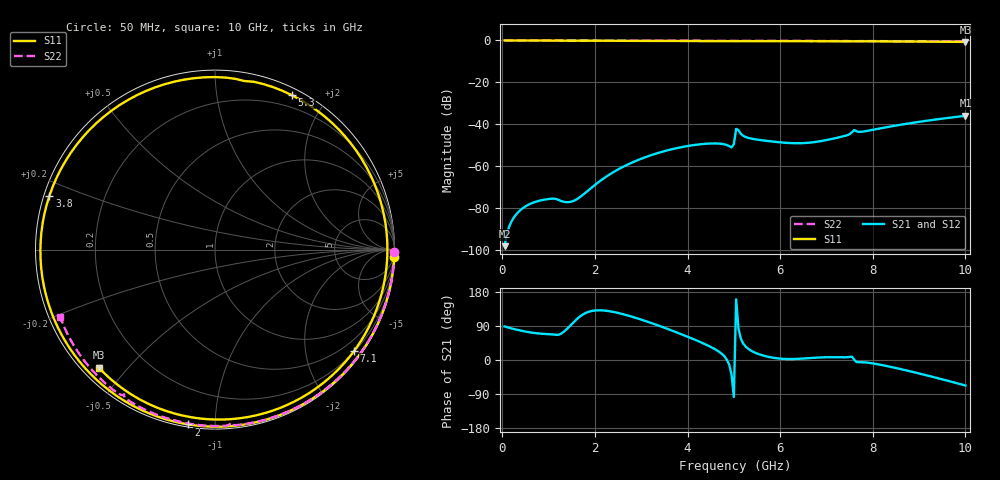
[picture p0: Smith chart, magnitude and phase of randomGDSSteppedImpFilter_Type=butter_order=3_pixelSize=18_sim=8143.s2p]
! freq	dB(S11)	phase(S11)	dB(S12)	phase(S12)
!  dB(S21)	phase(S21)	dB(S22)	phase(S22)
!S-par simulation data
#  GHz  S  DB  R 50
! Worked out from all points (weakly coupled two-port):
!   200 points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, 50 MHz to 10 GHz, reference 50 ohm
!   highest |S21| = -36.01 dB at 10 GHz (marker M1); lowest = -98.3 dB at 50 MHz (marker M2)
!   lowest |S11| = -0.7 dB at 10 GHz (marker M3), VSWR 24.82, Z = 2.37 - j21 ohm
!   |S11| at or under -10 dB: nowhere
!   |S22| runs from -0.5 to 0.0 dB; largest |S21 - S12| = 0
!   S11 on the Smith chart (normalised r, x): 50 MHz: 0, -46; 2 GHz: 0.01, -0.86; 3.8 GHz: 0.02, +0.16; 5.3 GHz: 0.07, +1.61; 7.1 GHz: 0.22, -3.07; 10 GHz: 0.05, -0.42
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0.05  -0.00 -2.5  -98.29 88.5  -98.29 88.5  -0.00 -0.9
0.45  -0.02 -22.2  -80.03 76.3  -80.03 76.3  -0.01 -8.1
0.8  -0.04 -39.4  -76.57 69.8  -76.57 69.8  -0.02 -14.3
1.1  -0.06 -54.1  -75.57 67.4  -75.57 67.4  -0.02 -19.6
1.45  -0.09 -71.3  -77.19 88.4  -77.19 88.4  -0.03 -25.8
1.75  -0.11 -86.2  -73.61 120.9  -73.61 120.9  -0.04 -31.0
2  -0.13 -98.7  -69.04 130.6  -69.04 130.6  -0.05 -35.3
2.65  -0.17 -132.2  -59.91 119.5  -59.91 119.5  -0.06 -46.4
3.4  -0.23 -173.9  -53.51 89.6  -53.51 89.6  -0.08 -58.8
3.8  -0.26 162.1  -51.28 71.2  -51.28 71.2  -0.09 -65.3
4.45  -0.31 120.3  -49.28 37.6  -49.28 37.6  -0.11 -75.7
4.95  -0.35 86.6  -51.10 -37.8  -51.10 -37.8  -0.14 -83.7
5  -0.37 83.2  -49.60 -97.6  -49.60 -97.6  -0.17 -84.6
5.05  -0.41 80.2  -42.23 160.2  -42.23 160.2  -0.26 -85.0
5.3  -0.34 63.6  -46.48 30.5  -46.48 30.5  -0.15 -88.6
6  -0.35 20.0  -48.68 3.6  -48.68 3.6  -0.18 -99.2
6.7  -0.35 -17.4  -48.67 5.6  -48.67 5.6  -0.22 -109.4
7.1  -0.36 -36.0  -47.14 7.4  -47.14 7.4  -0.24 -115.2
7.6  -0.39 -56.7  -42.78 0.9  -42.78 0.9  -0.42 -122.1
8.35  -0.46 -83.7  -41.24 -17.2  -41.24 -17.2  -0.34 -132.9
9.15  -0.56 -109.1  -38.40 -40.1  -38.40 -40.1  -0.43 -144.3
10  -0.70 -134.5  -36.01 -67.3  -36.01 -67.3  -0.53 -156.6
